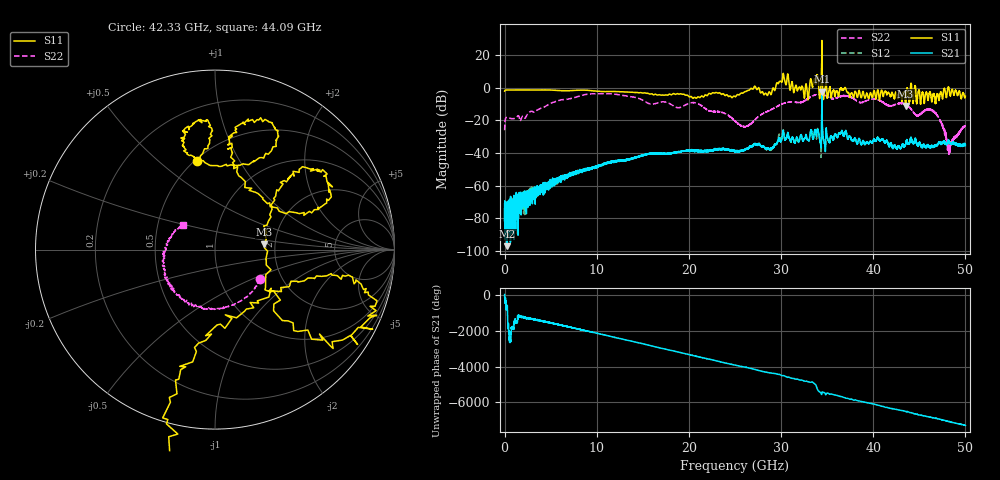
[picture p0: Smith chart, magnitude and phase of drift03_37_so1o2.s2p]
!Created with skrf (http://scikit-rf.org).
# Hz S RI R 50.0
!freq ReS11 ImS11 ReS21 ImS21 ReS12 ImS12 ReS22 ImS22
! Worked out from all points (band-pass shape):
!   10000 points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, 5.3 MHz to 50 GHz, reference 50 ohm
!   highest |S21| = -2.43 dB at 34.43 GHz (marker M1); lowest = -97.0 dB at 285.3 MHz (marker M2)
!   |S21| within 3 dB of the highest: 34.42765 GHz to 34.43441 GHz (6.755 MHz wide, 0.0196 % of centre)
!   lowest |S11| = -11.2 dB at 43.52 GHz (marker M3), VSWR 1.75, Z = 87.2 + j5.46 ohm
!   |S11| at or under -10 dB: 43.49108 GHz to 43.54275 GHz (51.67 MHz wide, 0.119 % of centre); 43.5498 GHz to 43.55015 GHz (344.6 kHz wide, 0.000791 % of centre); 45.13854 GHz to 45.14154 GHz (3.009 MHz wide, 0.00667 % of centre)
!   |S22| runs from -40.7 to -3.6 dB; largest |S21 - S12| = 0.25
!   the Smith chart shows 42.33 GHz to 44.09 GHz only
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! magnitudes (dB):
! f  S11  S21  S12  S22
! 5.3 MHz  -2.1  -71.3  -73.7  -26.1
! 285.3 MHz  -1.4  -97.0  -78.1  -18.3
! 2.84 GHz  -1.4  -67.9  -67.3  -14.5
! 8.34 GHz  -1.5  -50.8  -50.4  -4.7
! 16.67 GHz  -4.4  -40.3  -40.2  -9.2
! 20.74 GHz  -6.3  -39.0  -38.1  -9.3
! 25.01 GHz  -5.5  -38.9  -39.2  -20.6
! 26.22 GHz  -2.3  -37.5  -37.4  -23.7
! 28.72 GHz  -2.5  -37.4  -37.5  -14.1
! 30.14 GHz  4.4  -29.3  -29.6  -9.9
! 32.74 GHz  2.0  -29.5  -29.2  -7.4
! 33.34 GHz  2.6  -27.5  -27.8  -5.3
! 33.82 GHz  4.0  -29.0  -29.5  -4.3
! 34.43 GHz  28.9  -2.4  -4.5  -4.0
! 36.48 GHz  -0.4  -28.1  -27.8  -5.4
! 41.67 GHz  -3.0  -35.5  -35.5  -11.2
! 43.52 GHz  -11.2  -34.4  -34.5  -10.5
! 44.74 GHz  -9.2  -34.8  -34.4  -17.2
! 46.64 GHz  -4.8  -35.6  -35.8  -15.2
! 47.5 GHz  -6.2  -34.1  -33.7  -23.1
! 48.22 GHz  -0.3  -32.7  -33.0  -38.6
! 50 GHz  -5.2  -35.4  -34.9  -23.4
